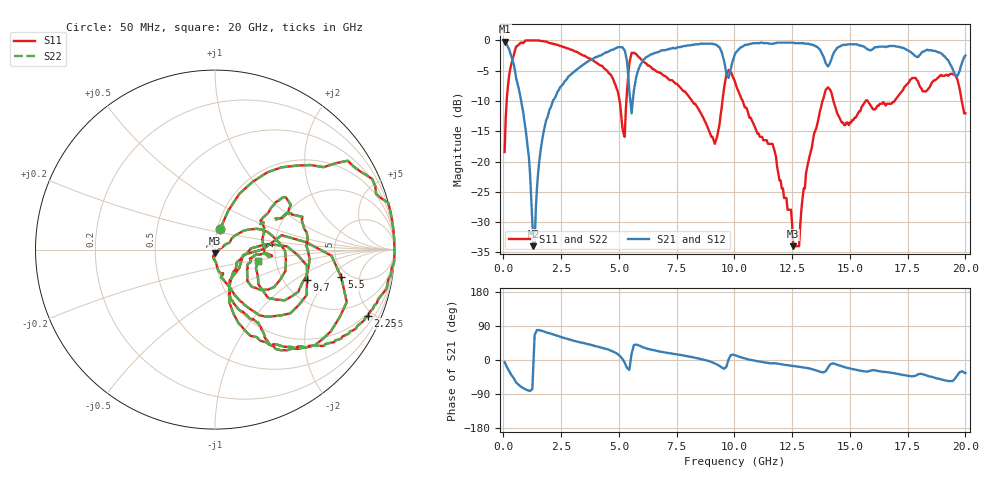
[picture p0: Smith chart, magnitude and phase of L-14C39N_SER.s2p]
# MHZ S MA R 50
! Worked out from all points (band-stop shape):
!   400 points, 50 MHz to 20 GHz, reference 50 ohm
!   highest |S21| = -0.18 dB at 50 MHz (marker M1); lowest = -34.0 dB at 1.3 GHz (marker M2)
!   |S21| within 3 dB of the highest: 9.944 GHz to 13.91 GHz (3.962 GHz wide, 33.2 % of centre); 14.19 GHz to 19.23 GHz (5.039 GHz wide, 30.1 % of centre) (the widest 2 of 6)
!   lowest |S11| = -34.0 dB at 12.55 GHz (marker M3), VSWR 1.04, Z = 49.8 - j1.98 ohm
!   |S11| at or under -10 dB: 8.169 GHz to 9.481 GHz (1.313 GHz wide, 14.9 % of centre); 10.36 GHz to 13.82 GHz (3.457 GHz wide, 28.6 % of centre); 14.29 GHz to 15.68 GHz (1.392 GHz wide, 9.29 % of centre) (the widest 3 of 7)
!   |S22| runs from -34.0 to 0.0 dB; largest |S21 - S12| = 0
!   S11 on the Smith chart (normalised r, x): 50 MHz: 1.03, +0.24; 2.25 GHz: 0.86, -4.68; 5.5 GHz: 4.32, -2.75; 9.7 GHz: 2.67, -1.27; 20 GHz: 1.62, -0.23
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50  0.12 75.9  0.98 -5.5  0.98 -5.5  0.12 75.9
400  0.71 41.6  0.68 -44.4  0.68 -44.4  0.71 41.6
1100  1 9.8  0.11 -81.0  0.11 -81.0  1 9.8
1300  1 3.5  0.02 -5.5  0.02 -5.5  1 3.5
1650  0.99 -7.2  0.14 77.1  0.14 77.1  0.99 -7.2
2250  0.93 -23.4  0.34 65.3  0.34 65.3  0.93 -23.4
3400  0.76 -44.8  0.62 45.7  0.62 45.7  0.76 -44.8
4750  0.48 -69.7  0.84 22.3  0.84 22.3  0.48 -69.7
5250  0.16 -10.9  0.83 -7.0  0.83 -7.0  0.16 -10.9
5500  0.72 -12.3  0.31 -4.3  0.31 -4.3  0.72 -12.3
5750  0.77 -43.9  0.5 40.7  0.5 40.7  0.77 -43.9
6700  0.55 -60.0  0.8 23.0  0.8 23.0  0.55 -60.0
9150  0.14 -30.0  0.93 -8.8  0.93 -8.8  0.14 -30.0
9700  0.54 -18.1  0.51 -8.1  0.51 -8.1  0.54 -18.1
10050  0.44 -56.1  0.79 12.3  0.79 12.3  0.44 -56.1
11650  0.14 -75.3  0.94 -8.4  0.94 -8.4  0.14 -75.3
12550  0.02 -95.6  0.96 -15.9  0.96 -15.9  0.02 -95.6
13350  0.13 35.2  0.92 -24.2  0.92 -24.2  0.13 35.2
14050  0.41 -16.8  0.61 -20.3  0.61 -20.3  0.41 -16.8
16700  0.3 31.3  0.9 -32.8  0.9 -32.8  0.3 31.3
19450  0.53 -16.1  0.58 -55.5  0.58 -55.5  0.53 -16.1
20000  0.25 -15.2  0.75 -34.6  0.75 -34.6  0.25 -15.2
